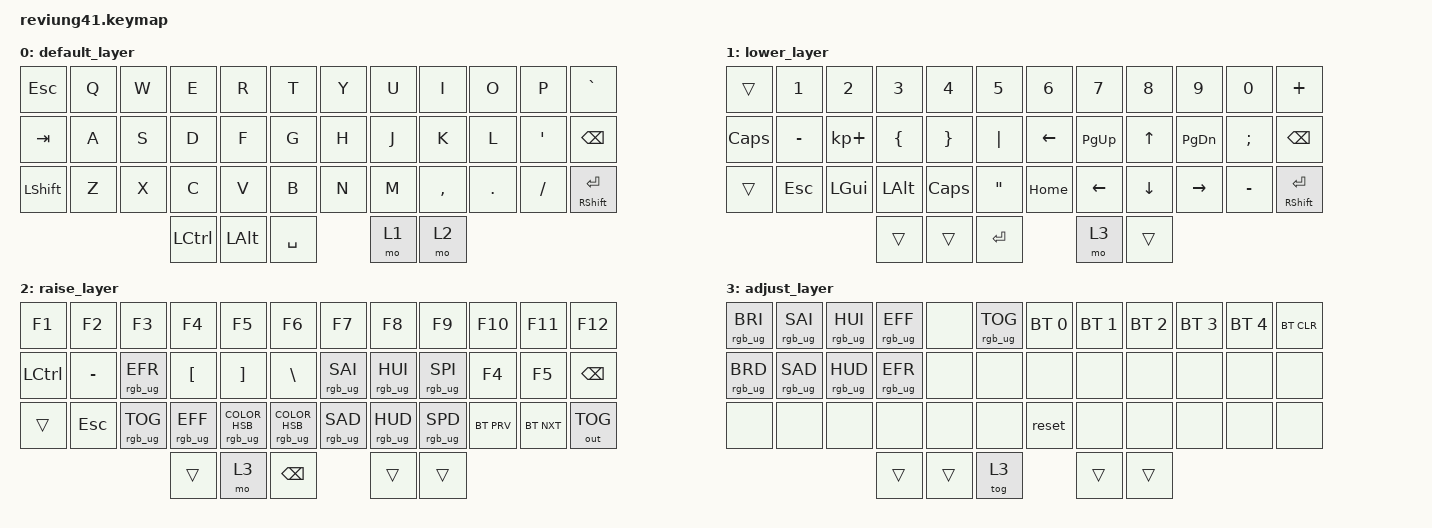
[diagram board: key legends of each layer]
/*
 * Copyright (c) 2020 The ZMK Contributors
 *
 * SPDX-License-Identifier: MIT
 */

#include <behaviors.dtsi>

/*
 * Temporarily here because nice nano v2 spi is not defined on ZMk Yet
 * Source: https://github.com/zmkfirmware/zmk/blob/main/app/boards/shields/reviung41/boards/nice_nano.overlay
 * GitHub Issue: https://github.com/zmkfirmware/zmk/issues/885
 */

#include <dt-bindings/led/led.h>
#include <dt-bindings/zmk/keys.h>
#include <dt-bindings/zmk/rgb.h>
#include <dt-bindings/zmk/bt.h>
#include <dt-bindings/zmk/outputs.h>

&spi1 {
    compatible = "nordic,nrf-spim";
    status = "okay";
    mosi-pin = <6>;

    // Unused pins, needed for SPI definition, but not used by the ws2812 driver itself.

    sck-pin = <5>;
    miso-pin = <7>;

    led_strip: ws2812@0 {
        compatible = "worldsemi,ws2812-spi";
        label = "WS2812";

        /* SPI */

        reg = <0>;/* ignored, but necessary for SPI bindings */
        spi-max-frequency = <4000000>;

        /* WS2812 */

        chain-length = <11>;/* arbitrary; change at will */
        spi-one-frame = <0x70>;
        spi-zero-frame = <0x40>;
        color-mapping = <LED_COLOR_ID_GREEN LED_COLOR_ID_RED LED_COLOR_ID_BLUE>;
    };
};

/ {
    chosen {
        zmk,underglow = &led_strip;
    };
};

/ {
    keymap {
        compatible = "zmk,keymap";

        default_layer {
            // -------------------------------------------------------------------------------------
            // |  ESC |  Q  |  W  |  E  |  R  |  T  |   |  Y  |  U   |  I  |  O  |  P  |   `~      |
            // | TAB  |  A  |  S  |  D  |  F  |  G  |   |  H  |  J   |  K  |  L  |  ;  |   BKSP    |
            // | SHFT |  Z  |  X  |  C  |  V  |  B  |   |  N  |  M   |  ,  |  .  |  /  |   ENTER   |
            //                         | CTRL | LALT|  SPC | FN1  | FN2  |

            bindings = <
  &kp ESC  &kp Q  &kp W      &kp E         &kp R  &kp T             &kp Y  &kp U      &kp I    &kp O             &kp P      &kp GRAVE
  &kp TAB  &kp A  &kp S      &kp D         &kp F  &kp G             &kp H  &kp J      &kp K    &kp L  &kp SINGLE_QUOTE  &kp BACKSPACE
&kp LSHFT  &kp Z  &kp X      &kp C         &kp V  &kp B             &kp N  &kp M  &kp COMMA  &kp DOT          &kp FSLH  &mt RSHFT RET
                         &kp LCTRL  &kp LEFT_ALT         &kp SPACE         &mo 1      &mo 2
            >;
        };

        lower_layer {
            // ----------------------------------------------------------------------------------
            // |    |  !  |  @  |  #  |  $  |  %  |   |  ^  |  &  |  *  |  (  |  )  |    DEL    |
            // |    |  _  |  +  |  {  |  }  | "|" |   | LFT | DWN |  UP | RGT |  `  |     ~     |
            // |    | ESC | GUI | ALT | CAPS|  "  |   | HOME| END | PGUP| PGDN| PRSC| SHFT(RET) |
            //                       |     |     | RET | ADJ |     |

            bindings = <
  &trans  &kp NUMBER_1  &kp NUMBER_2  &kp NUMBER_3  &kp NUMBER_4  &kp NUMBER_5           &kp NUMBER_6  &kp NUMBER_7    &kp N8  &kp NUMBER_9   &kp NUMBER_0       &kp PLUS
&kp CAPS     &kp MINUS   &kp KP_PLUS      &kp LBRC      &kp RBRC      &kp PIPE               &kp LEFT     &kp PG_UP    &kp UP     &kp PG_DN  &kp SEMICOLON  &kp BACKSPACE
  &trans       &kp ESC      &kp LGUI      &kp LALT      &kp CLCK       &kp DQT               &kp HOME      &kp LEFT  &kp DOWN     &kp RIGHT      &kp MINUS  &mt RSHFT RET
                                            &trans        &trans                &kp RET                       &mo 3    &trans
            >;
        };

        raise_layer {
            // -----------------------------------------------------------------------------------------
            // |    |  1  |  2  |  3  |  4  |  5  |   |  6  |  7  |  8  |  9  |  0  | DEL |
            // |    |  -  |  =  |  [  |  ]  |  \  |   | F1  | F2  | F3  | F4  | F5  | F6  |
            // |    | ESC | GUI | ALT | CAPS|  "  |   | F7  | F8  | F9  | F10 | F11 | F12 |
            //                       |     | ADJ | BKSP |    |     |

            bindings = <
   &kp F1     &kp F2           &kp F3           &kp F4                            &kp F5                            &kp F6                     &kp F7           &kp F8           &kp F9     &kp F10     &kp F11        &kp F12
&kp LCTRL  &kp MINUS  &rgb_ug RGB_EFR         &kp LBKT                          &kp RBKT                          &kp BSLH            &rgb_ug RGB_SAI  &rgb_ug RGB_HUI  &rgb_ug RGB_SPI      &kp F4      &kp F5  &kp BACKSPACE
   &trans    &kp ESC  &rgb_ug RGB_TOG  &rgb_ug RGB_EFF  &rgb_ug RGB_COLOR_HSB(201,93,47)  &rgb_ug RGB_COLOR_HSB(285,99,49)            &rgb_ug RGB_SAD  &rgb_ug RGB_HUD  &rgb_ug RGB_SPD  &bt BT_PRV  &bt BT_NXT   &out OUT_TOG
                                                &trans                             &mo 3                                    &kp BSPC                            &trans           &trans
            >;
        };

        adjust_layer {
            // -----------------------------------------------------------------------------------------
            // | RGB BRI+ | RGB SAT+ | RGB HUE+ | RGB ANI+ |    | RGB TOG |   |  BT1  | BT2 | BT3 | BT4 | BT5 | BT CLR |
            // | RGB BRI- | RGB SAT- | RGB HUE- | RGB ANI- |    |         |   |       |     |     |     |     |        |
            // |          |          |          |          |    |         |   | RESET |     |     |     |     |        |
            //                                              |     |     |     |     |     |

            bindings = <
&rgb_ug RGB_BRI  &rgb_ug RGB_SAI  &rgb_ug RGB_HUI  &rgb_ug RGB_EFF   &none  &rgb_ug RGB_TOG          &bt BT_SEL 0  &bt BT_SEL 1  &bt BT_SEL 2  &bt BT_SEL 3  &bt BT_SEL 4  &bt BT_CLR
&rgb_ug RGB_BRD  &rgb_ug RGB_SAD  &rgb_ug RGB_HUD  &rgb_ug RGB_EFR   &none            &none                 &none         &none         &none         &none         &none       &none
          &none            &none            &none            &none   &none            &none                &reset         &none         &none         &none         &none       &none
                                                            &trans  &trans                   &tog 3                      &trans        &trans
            >;
        };
    };
};
